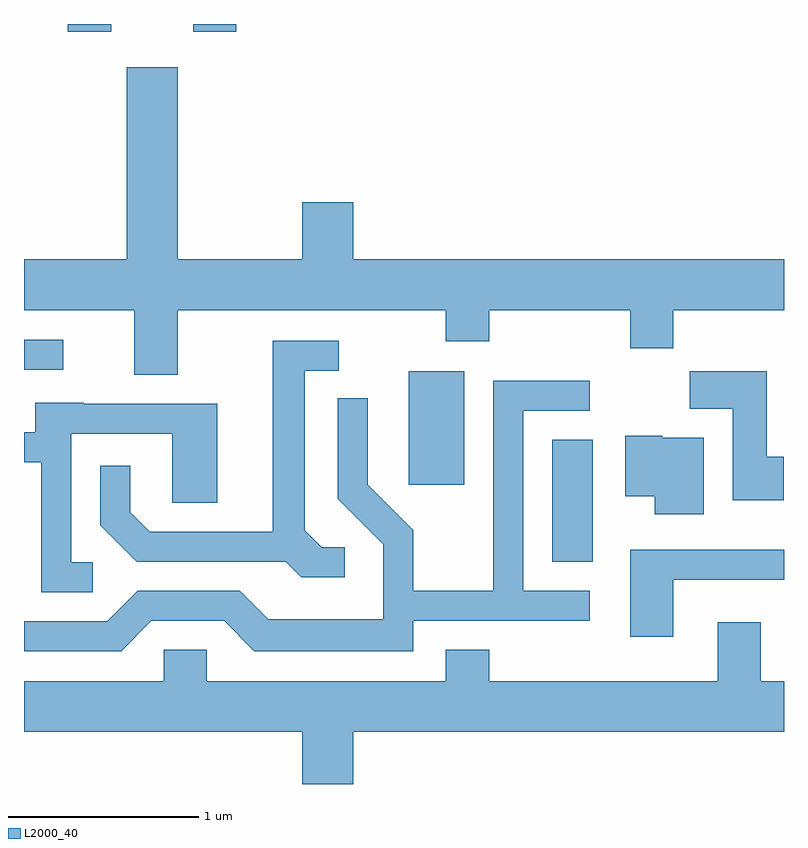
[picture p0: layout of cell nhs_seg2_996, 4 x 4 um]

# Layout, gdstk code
import gdstk
lib = gdstk.Library(unit=1e-6, precision=1e-09)
def R(c, l, rs):  # rectangles x0, y0, x1, y1
    for r in rs: c.add(gdstk.rectangle(r[:2], r[2:], *l))
def P(c, l, *ps):  # polygons
    for p in ps: c.add(gdstk.Polygon(p, *l))
L2000_40 = (2000, 40)

nhs_seg2_996 = lib.new_cell('nhs_seg2_996')
R(nhs_seg2_996, L2000_40, [(216.391,1066.971,216.604,1067.614), (215.636,1067.376,215.929,1067.974), (213.611,1067.981,213.818,1068.139), (213.841,1069.761,214.069,1069.802), (214.501,1069.761,214.729,1069.802)])
P(nhs_seg2_996, L2000_40, [(214.419,1068.296),(215.831,1068.296),(215.831,1068.131),(216.059,1068.131),(216.059,1068.296),(216.801,1068.296),(216.801,1068.096),(217.029,1068.096),(217.029,1068.296),(217.611,1068.296),(217.611,1068.564),(215.344,1068.564),(215.344,1068.864),(215.076,1068.864),(215.076,1068.564),(214.419,1068.564),(214.419,1069.574),(214.151,1069.574),(214.151,1068.564),(213.611,1068.564),(213.611,1068.296),(214.191,1068.296),(214.191,1067.956),(214.419,1067.956)],
  [(215.298,1067.049),(215.177,1067.049),(215.089,1067.137),(215.089,1067.976),(215.268,1067.976),(215.268,1068.134),(214.921,1068.134),(214.921,1067.129),(214.272,1067.129),(214.169,1067.232),(214.169,1067.478),(214.011,1067.478),(214.011,1067.164),(214.204,1066.971),(214.989,1066.971),(215.069,1066.891),(215.298,1066.891)],
  [(217.609,1067.524),(217.519,1067.524),(217.519,1067.974),(217.116,1067.974),(217.116,1067.776),(217.341,1067.776),(217.341,1067.296),(217.609,1067.296)],
  [(214.282,1066.661),(214.664,1066.661),(214.824,1066.501),(215.659,1066.501),(215.659,1066.661),(216.588,1066.661),(216.588,1066.819),(216.239,1066.819),(216.239,1067.766),(216.588,1067.766),(216.588,1067.924),(216.081,1067.924),(216.081,1066.819),(215.659,1066.819),(215.659,1067.137),(215.419,1067.377),(215.419,1067.833),(215.261,1067.833),(215.261,1067.304),(215.501,1067.064),(215.501,1066.669),(214.897,1066.669),(214.747,1066.819),(214.209,1066.819),(214.049,1066.659),(213.611,1066.659),(213.611,1066.501),(214.122,1066.501)],
  [(213.973,1066.969),(213.859,1066.969),(213.859,1067.646),(214.391,1067.646),(214.391,1067.281),(214.629,1067.281),(214.629,1067.804),(213.925,1067.804),(213.925,1067.809),(213.671,1067.809),(213.671,1067.654),(213.611,1067.654),(213.611,1067.496),(213.701,1067.496),(213.701,1066.811),(213.973,1066.811)],
  [(217.189,1067.624),(216.97,1067.624),(216.97,1067.634),(216.776,1067.634),(216.776,1067.316),(216.931,1067.316),(216.931,1067.221),(217.189,1067.221)],
  [(217.029,1066.876),(217.611,1066.876),(217.611,1067.034),(216.801,1067.034),(216.801,1066.576),(217.029,1066.576)],
  [(215.344,1066.076),(217.611,1066.076),(217.611,1066.344),(217.489,1066.344),(217.489,1066.654),(217.261,1066.654),(217.261,1066.344),(216.059,1066.344),(216.059,1066.509),(215.831,1066.509),(215.831,1066.344),(214.574,1066.344),(214.574,1066.509),(214.346,1066.509),(214.346,1066.344),(213.611,1066.344),(213.611,1066.076),(215.076,1066.076),(215.076,1065.802),(215.344,1065.802)])

lib.write_gds('nhs_seg2_996.gds')
